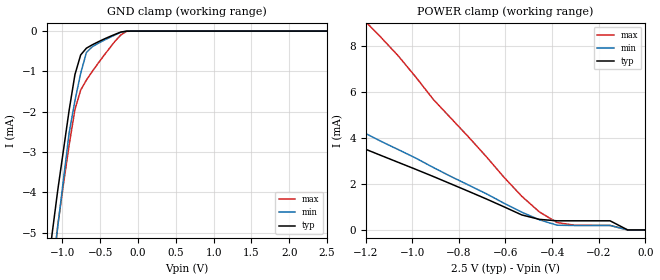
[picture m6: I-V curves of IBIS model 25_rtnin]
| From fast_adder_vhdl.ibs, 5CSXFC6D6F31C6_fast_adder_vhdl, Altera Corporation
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[Model]   25_rtnin
Model_type  Input
Polarity   Non-Inverting
Vinl   = 0.700
Vinh   = 1.700
C_comp 4.66pF   4.66pF   4.66pF
[Temperature Range] 25   85   0
[Voltage Range] 2.500   2.325   2.750
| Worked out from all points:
|   GND clamp passes 1 mA (typ) near -0.82 V on its own axis
|   POWER clamp passes 1 mA (typ) near -0.61 V on its own axis
[GND Clamp]
| voltage   I (typ)   I (min)   I (max)
-2.5V     -28.31mA   -28.62mA   -31.67mA
-1.136V   -5.051mA   -6.026mA   -6.176mA
-1.061V   -3.951mA   -4.855mA   -4.829mA
-909.1mV  -1.953mA   -2.513mA   -2.816mA
-833.3mV  -1.079mA   -1.727mA   -1.946mA
-757.6mV  -592.2uA   -1.049mA   -1.465mA
-681.8mV  -424.2uA   -531.5uA   -1.216mA
-606.1mV  -342.8uA   -391.8uA   -1.007mA
-303mV    -80.99uA   -96.21uA   -250.3uA
-227.3mV  -23.99uA   -30.39uA   -97.77uA
-151.5mV  -2.012uA   -3.885uA   -6.515uA
2.5V      0A         0A         0A
[POWER Clamp]
| voltage   I (typ)   I (min)   I (max)
-2.5V     8.704mA    11.28mA    31.44mA
-2.046V   6.871mA    8.568mA    22.7mA
-1.97V    6.569mA    8.267mA    21.24mA
-1.212V   3.556mA    4.258mA    9.178mA
-1.136V   3.248mA    3.863mA    8.394mA
-909.1mV  2.321mA    2.712mA    5.667mA
-530.3mV  653.5uA    774.6uA    1.465mA
-454.6mV  460.5uA    443uA      782.7uA
-378.8mV  397.5uA    206.4uA    321.1uA
-151.5mV  397.5uA    194.6uA    199.6uA
-75.76mV  0A         0A         0A
0V        0A         0A         0A
